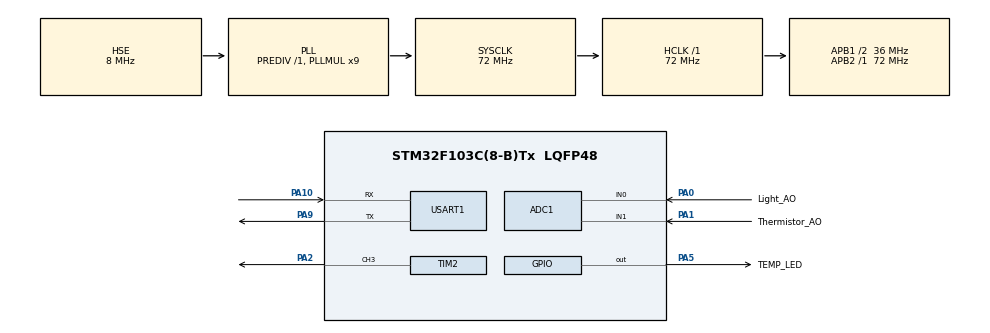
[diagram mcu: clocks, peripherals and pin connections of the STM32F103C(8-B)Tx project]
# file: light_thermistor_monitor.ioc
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ADC1.Channel-0\#ChannelRegularConversion=ADC_CHANNEL_0
ADC1.Channel-1\#ChannelRegularConversion=ADC_CHANNEL_1
ADC1.ExternalTrigConv=ADC_EXTERNALTRIGCONV_T3_TRGO
ADC1.NbrOfConversion=2
ADC1.NbrOfConversionFlag=1
ADC1.Rank-0\#ChannelRegularConversion=1
ADC1.Rank-1\#ChannelRegularConversion=2
ADC1.SamplingTime-0\#ChannelRegularConversion=ADC_SAMPLETIME_55CYCLES_5
ADC1.SamplingTime-1\#ChannelRegularConversion=ADC_SAMPLETIME_55CYCLES_5
ADC1.master=1
Dma.ADC1.0.Direction=DMA_PERIPH_TO_MEMORY
Dma.ADC1.0.Instance=DMA1_Channel1
Dma.ADC1.0.MemDataAlignment=DMA_MDATAALIGN_HALFWORD
Dma.ADC1.0.MemInc=DMA_MINC_ENABLE
Dma.ADC1.0.Mode=DMA_CIRCULAR
Dma.ADC1.0.PeriphDataAlignment=DMA_PDATAALIGN_HALFWORD
Dma.ADC1.0.PeriphInc=DMA_PINC_DISABLE
Dma.ADC1.0.Priority=DMA_PRIORITY_LOW
Dma.Request0=ADC1
Mcu.Family=STM32F1
Mcu.Name=STM32F103C(8-B)Tx
Mcu.Package=LQFP48
NVIC.DMA1_Channel1_IRQn=true\:4\:0\:true\:false\:true\:false\:true\:true
NVIC.PriorityGroup=NVIC_PRIORITYGROUP_4
PA0-WKUP.GPIO_Label=Light_AO
PA0-WKUP.Signal=ADCx_IN0
PA1.GPIO_Label=Thermistor_AO
PA1.Signal=ADCx_IN1
PA10.Mode=Asynchronous
PA10.Signal=USART1_RX
PA13.Mode=Serial_Wire
PA13.Signal=SYS_JTMS-SWDIO
PA14.Mode=Serial_Wire
PA14.Signal=SYS_JTCK-SWCLK
PA2.Signal=S_TIM2_CH3
PA5.GPIO_Label=TEMP_LED
PA5.Signal=GPIO_Output
PA9.Mode=Asynchronous
PA9.Signal=USART1_TX
PC14-OSC32_IN.Mode=LSE-External-Oscillator
PC14-OSC32_IN.Signal=RCC_OSC32_IN
PC15-OSC32_OUT.Mode=LSE-External-Oscillator
PC15-OSC32_OUT.Signal=RCC_OSC32_OUT
PD0-OSC_IN.Mode=HSE-External-Oscillator
PD0-OSC_IN.Signal=RCC_OSC_IN
PD1-OSC_OUT.Mode=HSE-External-Oscillator
PD1-OSC_OUT.Signal=RCC_OSC_OUT
ProjectManager.HeapSize=0x200
ProjectManager.StackSize=0x400
ProjectManager.TargetToolchain=MDK-ARM V5.32
RCC.ADCPresc=RCC_ADCPCLK2_DIV6
RCC.AHBFreq_Value=72000000
RCC.APB1CLKDivider=RCC_HCLK_DIV2
RCC.APB1Freq_Value=36000000
RCC.APB1TimFreq_Value=72000000
RCC.APB2Freq_Value=72000000
RCC.APB2TimFreq_Value=72000000
RCC.HCLKFreq_Value=72000000
RCC.PLLMUL=RCC_PLL_MUL9
RCC.PLLSourceVirtual=RCC_PLLSOURCE_HSE
RCC.SYSCLKFreq_VALUE=72000000
RCC.SYSCLKSource=RCC_SYSCLKSOURCE_PLLCLK
RCC.USBFreq_Value=72000000
SH.ADCx_IN0.0=ADC1_IN0,IN0
SH.ADCx_IN1.0=ADC1_IN1,IN1
SH.S_TIM2_CH3.0=TIM2_CH3,PWM Generation3 CH3
TIM2.Channel-PWM\ Generation3\ CH3=TIM_CHANNEL_3
TIM2.Period=999
TIM2.Prescaler=71
TIM2.Pulse-PWM\ Generation3\ CH3=500
TIM3.Period=99
TIM3.Prescaler=7199
TIM3.TIM_MasterOutputTrigger=TIM_TRGO_UPDATE
USART1.VirtualMode=VM_ASYNC
VP_TIM2_VS_ClockSourceINT.Mode=Internal
VP_TIM3_VS_ClockSourceINT.Mode=Internal
board=custom

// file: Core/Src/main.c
/* USER CODE BEGIN Header */
/**
  ******************************************************************************
  * @file           : main.c
  * @brief          : Main program body
  ******************************************************************************
  * @attention
  *
  * Copyright (c) 2026 STMicroelectronics.
  * All rights reserved.
  *
  * This software is licensed under terms that can be found in the LICENSE file
  * in the root directory of this software component.
  * If no LICENSE file comes with this software, it is provided AS-IS.
  *
  ******************************************************************************
  */
/* USER CODE END Header */
#include "main.h"
#include "adc.h"
#include "dma.h"
#include "tim.h"
#include "usart.h"
#include "gpio.h"

/* USER CODE BEGIN Includes */
#include <stdio.h>
#include <string.h>
#include <math.h>
/* USER CODE END Includes */

/* USER CODE BEGIN PD */
#define LIGHT_ADC_MIN 1650
#define LIGHT_ADC_MAX 3950
#define PWM_MAX       999
#define LIGHT_FILTER_SIZE  8
#define TEMP_FILTER_SIZE  8
/* USER CODE END PD */

/* USER CODE BEGIN PV */
volatile uint16_t adc_buf[2];   // ADC raw val

uint16_t light_samples[LIGHT_FILTER_SIZE] = {0};
uint32_t light_sum = 0;
uint8_t light_index = 0;
uint8_t light_sample_count = 0;
volatile uint16_t filtered_light = 0;

uint16_t temp_samples[TEMP_FILTER_SIZE] = {0};
uint32_t temp_sum = 0;
uint8_t temp_index = 0;
uint8_t temp_sample_count = 0;
volatile uint16_t filtered_temp = 0;

#define TEMP_LED_ON_THRESHOLD   29.0f
#define TEMP_LED_OFF_THRESHOLD  28.0f
/* USER CODE END PV */

void SystemClock_Config(void);

/* USER CODE BEGIN 0 */
float Thermistor_VoltageToTemp(float vout)
{
    const float VCC = 3.3f;
    const float R_FIXED = 10000.0f;   //
    const float R0 = 10000.0f;        // NTC 25�C    10k
    const float BETA = 3950.0f;
    const float T0 = 298.15f;         // 25�C in Kelvin

    float r_ntc;
    float temp_k;

    r_ntc = R_FIXED * vout / (VCC - vout);

    temp_k = 1.0f /
             (1.0f / T0 +
              (1.0f / BETA) * logf(r_ntc / R0));

    return temp_k - 273.15f;
}
/* USER CODE END 0 */

int main(void)
{

  /* MCU Configuration--------------------------------------------------------*/

  /* Reset of all peripherals, Initializes the Flash interface and the Systick. */
  HAL_Init();

  /* Configure the system clock */
  SystemClock_Config();

  /* Initialize all configured peripherals */
  MX_GPIO_Init();
  MX_DMA_Init();
  MX_ADC1_Init();
  MX_USART1_UART_Init();
  MX_TIM2_Init();
  MX_TIM3_Init();
  /* USER CODE BEGIN 2 */
  HAL_ADCEx_Calibration_Start(&hadc1);
  HAL_TIM_PWM_Start(&htim2, TIM_CHANNEL_3);

   HAL_ADC_Start_DMA(&hadc1, (uint32_t *)adc_buf, 2);
   HAL_TIM_Base_Start(&htim3);

  /* USER CODE END 2 */

  /* Infinite loop */
  while (1)
  {

    /* USER CODE BEGIN 3 */
    static uint32_t last_temp_update = 0;
    static uint32_t last_print = 0;
    static float temperature = 0.0f;

    // Temperature control: 10 Hz
    if (HAL_GetTick() - last_temp_update >= 100)
    {
        last_temp_update = HAL_GetTick();

        float temp_voltage;

        temp_voltage = filtered_temp / 4095.0f * 3.3f;
        temperature = Thermistor_VoltageToTemp(temp_voltage);

        if (temperature >= TEMP_LED_ON_THRESHOLD)
        {
            HAL_GPIO_WritePin(TEMP_LED_GPIO_Port,
                              TEMP_LED_Pin,
                              GPIO_PIN_SET);
        }
        else if (temperature <= TEMP_LED_OFF_THRESHOLD)
        {
            HAL_GPIO_WritePin(TEMP_LED_GPIO_Port,
                              TEMP_LED_Pin,
                              GPIO_PIN_RESET);
        }
    }

    // UART output: 2 Hz
    if (HAL_GetTick() - last_print >= 500)
    {
        last_print = HAL_GetTick();

        float light_voltage;

        light_voltage = filtered_light / 4095.0f * 3.3f;

        printf("Light: %.3f V, Temp: %.2f C\r\n",
               light_voltage, temperature);
    }

  }
  /* USER CODE END 3 */
}

void SystemClock_Config(void)
{
  RCC_OscInitTypeDef RCC_OscInitStruct = {0};
  RCC_ClkInitTypeDef RCC_ClkInitStruct = {0};
  RCC_PeriphCLKInitTypeDef PeriphClkInit = {0};

  /** Initializes the RCC Oscillators according to the specified parameters
  * in the RCC_OscInitTypeDef structure.
  */
  RCC_OscInitStruct.OscillatorType = RCC_OSCILLATORTYPE_HSE;
  RCC_OscInitStruct.HSEState = RCC_HSE_ON;
  RCC_OscInitStruct.HSEPredivValue = RCC_HSE_PREDIV_DIV1;
  RCC_OscInitStruct.HSIState = RCC_HSI_ON;
  RCC_OscInitStruct.PLL.PLLState = RCC_PLL_ON;
  RCC_OscInitStruct.PLL.PLLSource = RCC_PLLSOURCE_HSE;
  RCC_OscInitStruct.PLL.PLLMUL = RCC_PLL_MUL9;
  if (HAL_RCC_OscConfig(&RCC_OscInitStruct) != HAL_OK)
  {
    Error_Handler();
  }

  /** Initializes the CPU, AHB and APB buses clocks
  */
  RCC_ClkInitStruct.ClockType = RCC_CLOCKTYPE_HCLK|RCC_CLOCKTYPE_SYSCLK
                              |RCC_CLOCKTYPE_PCLK1|RCC_CLOCKTYPE_PCLK2;
  RCC_ClkInitStruct.SYSCLKSource = RCC_SYSCLKSOURCE_PLLCLK;
  RCC_ClkInitStruct.AHBCLKDivider = RCC_SYSCLK_DIV1;
  RCC_ClkInitStruct.APB1CLKDivider = RCC_HCLK_DIV2;
  RCC_ClkInitStruct.APB2CLKDivider = RCC_HCLK_DIV1;

  if (HAL_RCC_ClockConfig(&RCC_ClkInitStruct, FLASH_LATENCY_2) != HAL_OK)
  {
    Error_Handler();
  }
  PeriphClkInit.PeriphClockSelection = RCC_PERIPHCLK_ADC;
  PeriphClkInit.AdcClockSelection = RCC_ADCPCLK2_DIV6;
  if (HAL_RCCEx_PeriphCLKConfig(&PeriphClkInit) != HAL_OK)
  {
    Error_Handler();
  }
}

/* USER CODE BEGIN 4 */
int fputc(int ch, FILE *f)
{
    HAL_UART_Transmit(&huart1, (uint8_t *)&ch, 1, HAL_MAX_DELAY);
    return ch;
}

void HAL_ADC_ConvCpltCallback(ADC_HandleTypeDef *hadc)
{
    if (hadc->Instance == ADC1)
    {
        uint16_t light;
        uint32_t ccr;
		// 8-sample moving average filter
		// light_index points to the oldest sample / next position to overwrite
        // remove oldest sample from sum
        light_sum -= light_samples[light_index];
        // store newest sample
        light_samples[light_index] = adc_buf[0];
        // add newest sample to sum
        light_sum += light_samples[light_index];
        // move index forward
        light_index++;
        if (light_index >= LIGHT_FILTER_SIZE)
        {
            light_index = 0;
        }
        // during startup, we may not have 8 samples yet
        if (light_sample_count < LIGHT_FILTER_SIZE)
        {
            light_sample_count++;
        }
        // moving average
        filtered_light = light_sum / light_sample_count;
		light = filtered_light;
        if (light <= LIGHT_ADC_MIN)
        {
            ccr = 0;
        }
        else if (light >= LIGHT_ADC_MAX)
        {
            ccr = PWM_MAX;
        }
        else
        {
            ccr = (light - LIGHT_ADC_MIN) * PWM_MAX / (LIGHT_ADC_MAX - LIGHT_ADC_MIN);
        }
        __HAL_TIM_SET_COMPARE(&htim2, TIM_CHANNEL_3, ccr);

		 temp_sum -= temp_samples[temp_index];
		 temp_samples[temp_index] = adc_buf[1];
		 temp_sum += temp_samples[temp_index];
		 temp_index++;
		 if (temp_index >= TEMP_FILTER_SIZE)
		 {
			temp_index = 0;
		 }
		 if (temp_sample_count < TEMP_FILTER_SIZE)
		 {
			 temp_sample_count++;
		 }
		 filtered_temp = temp_sum / temp_sample_count;
    }
}
/* USER CODE END 4 */

void Error_Handler(void)
{
  __disable_irq();
  while (1)
  {
  }
}
